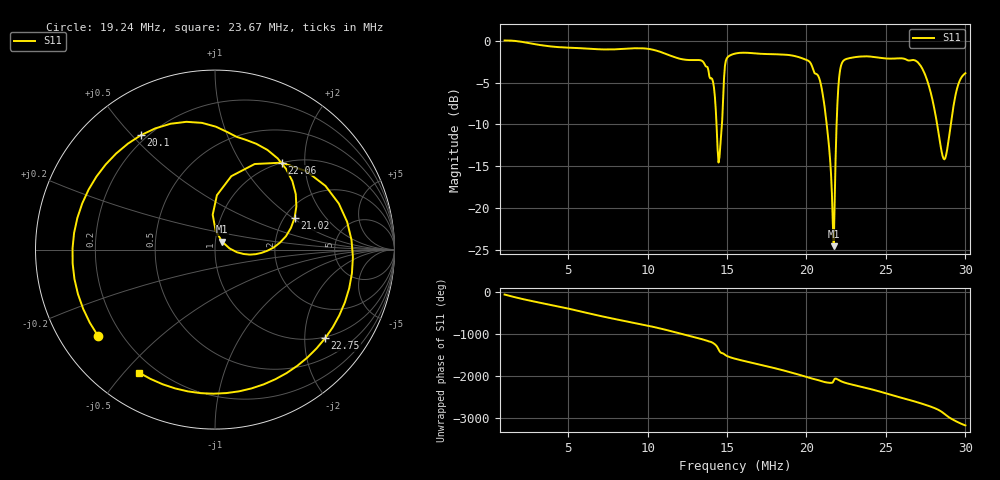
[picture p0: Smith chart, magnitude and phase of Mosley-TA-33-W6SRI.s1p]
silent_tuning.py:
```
#
# Silent Tuning in Python/scikit-rf
#  Aaron Heller <ajheller@gmail.com>
#  17-Jan-2025
#


# %%
from pathlib import Path

import numpy as np
import skrf as rf
from matplotlib import pyplot as plt

# %%
_here = Path(__file__).resolve().parent
data_files = _here / "data"

# project_files = Path("/Users/heller/dev/instant_tune/")
tuner_files = data_files / "tuners" / "zmatch"
antenna_files = data_files / "antennas"
calib_files = data_files / "vna_calibration"

# %%
# load the antenna
ant = rf.Network(antenna_files / "Mosley-TA-33-W6SRI.s1p")

# plot the return loss of the antenna
fig, ax = plt.subplots(1, 1, figsize=(6, 6))
ant.plot_s_db(ax=ax)
ax.grid(True)
ax.set_title("Return loss TA-33 antenna vs. Frequency")


# %%
# Z-match settings used for calibration
Ls = (1, 3, 5, 7, 9)
Ts = (1, 3, 5, 7, 9)

# set up big plot
fig, axes = plt.subplots(len(Ls), len(Ts), figsize=(30, 30))

# iterate over settings
for li, l in enumerate(Ls):
    for ti, t in enumerate(Ts):

        # load the forward and reverse s2p sweeps
        zm_f, zm_r = [
            rf.Network(tuner_files / f"zmatch-L{l}-T{t}-{dir}.s2p")
            for dir in ("F", "R")
        ]

        # merge into a single two-port network
        tuner = rf.network.four_oneports_2_twoport(
            s11=zm_f.s11, s12=zm_r.s21, s21=zm_f.s21, s22=zm_r.s11
        )

        # cascade the tuner and antenna networks
        tuner_ant = tuner**ant

        # plot return loss of the combined network
        ax = axes[li, ti]
        tuner_ant.plot_s_db(ax=ax)
        ax.set_title(f"L={l} T={t}")
        ax.grid(True)
        ax.set_ylim((-30, +5))

plt.show()


# %%
```
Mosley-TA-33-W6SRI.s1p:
# HZ S RI R 50
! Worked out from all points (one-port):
!   505 points, 1 MHz to 30 MHz, reference 50 ohm
!   lowest |S11| = -24.5 dB at 21.71 MHz (marker M1), VSWR 1.13, Z = 53.8 + j4.83 ohm
!   |S11| at or under -10 dB: 14.34 MHz to 14.68 MHz (340.7 kHz wide, 2.35 % of centre); 21.27 MHz to 21.89 MHz (622.7 kHz wide, 2.88 % of centre); 28.22 MHz to 29.08 MHz (856.7 kHz wide, 2.99 % of centre)
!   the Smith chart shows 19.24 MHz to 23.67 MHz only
!   S11 on the Smith chart (normalised r, x): 19.24 MHz: 0.12, -0.32; 20.1 MHz: 0.18, +0.53; 21.02 MHz: 2.27, +1.03; 22.06 MHz: 1.00, +1.54; 22.75 MHz: 0.96, -2.51; 23.67 MHz: 0.14, -0.55
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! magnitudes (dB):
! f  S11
! 1 MHz  0.0
! 10.67 MHz  -1.3
! 14.52 MHz  -13.9
! 15.04 MHz  -2.0
! 19.24 MHz  -1.8
! 20.1 MHz  -2.4
! 20.33 MHz  -3.0
! 21.02 MHz  -6.4
! 21.71 MHz  -24.5
! 22.06 MHz  -4.3
! 22.75 MHz  -2.1
! 23.67 MHz  -1.9
! 28.68 MHz  -14.2
! 30 MHz  -3.9
